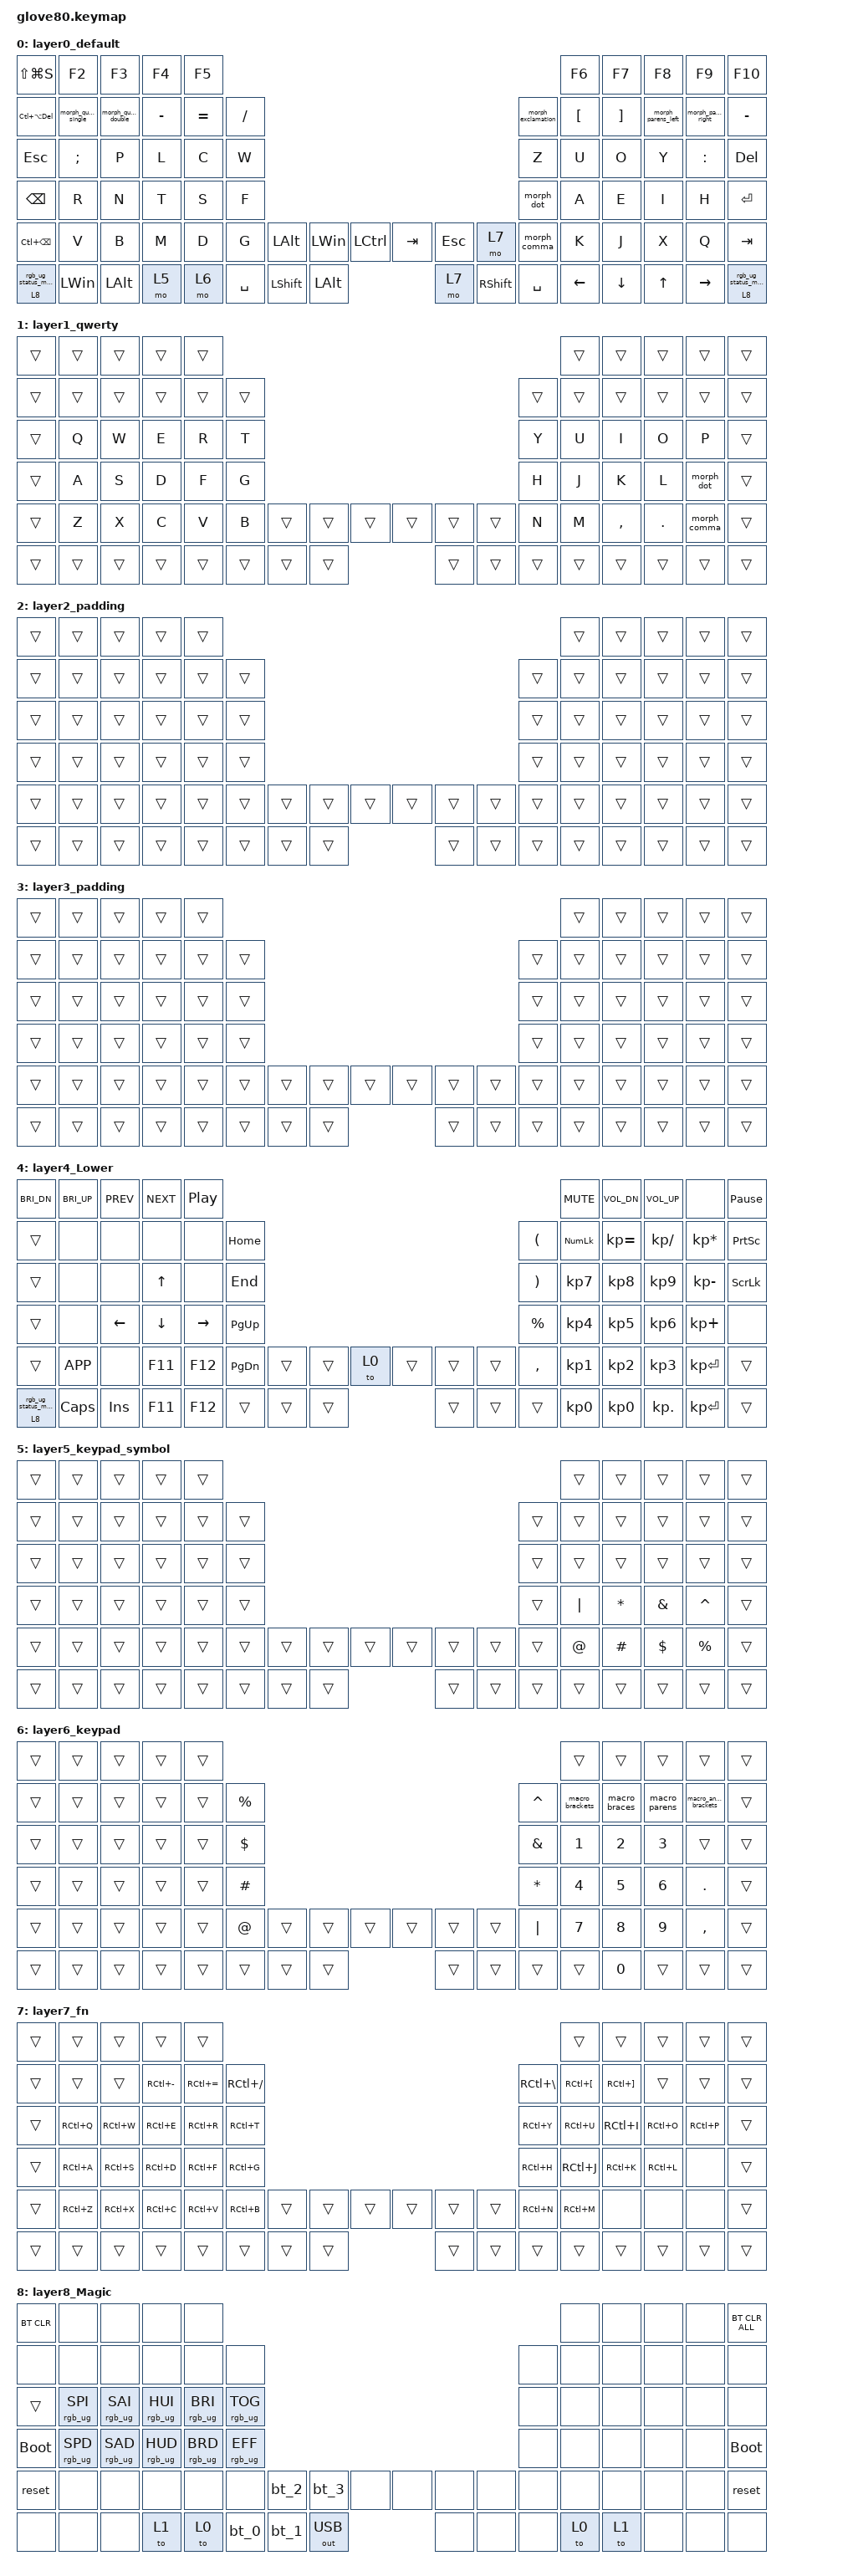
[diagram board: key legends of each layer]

/*
 * Copyright (c) 2020 The ZMK Contributors
 * Copyright (c) 2022 Innaworks Development Limited, trading as MoErgo
 *
 * SPDX-License-Identifier: MIT
 */


/* THIS FILE WAS GENERATED BY GLOVE80 LAYOUT EDITOR
 *
 * This file was generated automatically. You may or may not want to
 * edit it directly.
 */

#include <behaviors.dtsi>
/* Include all behaviour includes needed by system behaviors/macros */
#include <dt-bindings/zmk/outputs.h>

/* Include behaviour includes needed by key binds - automatically generated */
#include <dt-bindings/zmk/keys.h>
#include <dt-bindings/zmk/bt.h>
#include <dt-bindings/zmk/rgb.h>
#include <dt-bindings/zmk/outputs.h>


/ {
    /* Glove80 system behavior & macros */
    behaviors {
        // For the "layer" key, it'd nice to be able to use it as either a shift or a toggle.
        // Configure it as a tap dance, so the first tap (or hold) is a &mo and the second tap is a &to
        lower: tap_dance_0 {
            compatible = "zmk,behavior-tap-dance";
            label = "LAYER_TAP_DANCE";
            #binding-cells = <0>;
            tapping-term-ms = <200>;
            bindings = <&mo 1>, <&to 1>;
        };
    };

    combos {
        compatible = "zmk,combos";
        combo_esc {
            timeout-ms = <50>;
            key-positions = <52 57>; // This needs to change for each board
            bindings = <&kp BSPC>;
        };
    };

    macros {
        rgb_ug_status_macro: rgb_ug_status_macro_0 {
            label = "RGB_UG_STATUS";
            compatible = "zmk,behavior-macro";
            #binding-cells = <0>;
            bindings
                = <&rgb_ug RGB_STATUS>;
        };
    };

    macros {
        bt_0: bt_profile_macro_0 {
            label = "BT_0";
            compatible = "zmk,behavior-macro";
            #binding-cells = <0>;
            bindings
                = <&out OUT_BLE>,
                  <&bt BT_SEL 0>;
        };
    };

    macros {
        bt_1: bt_profile_macro_1 {
            label = "BT_1";
            compatible = "zmk,behavior-macro";
            #binding-cells = <0>;
            bindings
                = <&out OUT_BLE>,
                  <&bt BT_SEL 1>;
        };
    };

    macros {
        bt_2: bt_profile_macro_2 {
            label = "BT_2";
            compatible = "zmk,behavior-macro";
            #binding-cells = <0>;
            bindings
                = <&out OUT_BLE>,
                  <&bt BT_SEL 2>;
        };
    };

    macros {
        bt_3: bt_profile_macro_3 {
            label = "BT_3";
            compatible = "zmk,behavior-macro";
            #binding-cells = <0>;
            bindings
                = <&out OUT_BLE>,
                  <&bt BT_SEL 3>;
        };
    };

    magic: magic_hold_tap {
        compatible = "zmk,behavior-hold-tap";
        label = "MAGIC_HOLD_TAP";
        #binding-cells = <2>;
        flavor = "tap-preferred";
        tapping-term-ms = <200>;
        bindings = <&mo>, <&rgb_ug_status_macro>;
    };

    /* Custom Defined Behaviors */

   mo_key: behavior_mo_key {
        compatible = "zmk,behavior-hold-tap";
        label = "mo_key";
        #binding-cells = <2>;
        tapping-term-ms = <200>;
        quick_tap_ms = <175>;
        flavor = "tap-preferred";
        bindings = <&mo>, <&kp>;
    };

    hr_mod: homerow_mods {
        compatible = "zmk,behavior-hold-tap";
        label = "HOMEROW_MODS";
        #binding-cells = <2>;
        tapping-term-ms = <130>;
        quick-tap-ms = <0>;
        flavor = "tap-preferred";
        bindings = <&kp>, <&kp>;
    };

    shift_mod: shift_hold_tap {
        compatible = "zmk,behavior-hold-tap";
        label = "shift_mod_HOLD_TAP";
        #binding-cells = <2>;
        flavor = "tap-unless-interrupted";
        tapping-term-ms = <130>;                        // <---[[produces tap if held longer than tapping-term-ms]]
        quick-tap-ms = <200>;
        bindings = <&kp>, <&kp>;
    };


    // &dot_override,
    morph_dot: morph_dot {
        compatible = "zmk,behavior-mod-morph";
        label = "MORPH_DOT";
        #binding-cells = <0>;
        bindings = <&kp PERIOD>, <&kp COLON>;
        mods = <(MOD_LSFT|MOD_RSFT)>;
    };
    // &comma_override,
    morph_comma: morph_comma {
        compatible = "zmk,behavior-mod-morph";
        label = "MORPH_COMMA";
        #binding-cells = <0>;
        bindings = <&kp COMMA>, <&kp SEMICOLON>;
        mods = <(MOD_LSFT|MOD_RSFT)>;
    };
    // &parens_left_override,
    morph_parens_left: morph_parens_left {
        compatible = "zmk,behavior-mod-morph";
        label = "MORPH_PARENS_LEFT";
        #binding-cells = <0>;
        bindings = <&kp LEFT_PARENTHESIS>, <&kp LESS_THAN>;
        mods = <(MOD_LSFT|MOD_RSFT)>;
    };
    // &parens_right_override,
    morph_parens_right: morph_parens_right {
        compatible = "zmk,behavior-mod-morph";
        label = "MORPH_PARENS_RIGHT";
        #binding-cells = <0>;
        bindings = <&kp RIGHT_PARENTHESIS>, <&kp GREATER_THAN>;
        mods = <(MOD_LSFT|MOD_RSFT)>;
    };
    // &exclamation_override,
    morph_exclamation: morph_exclamation {
        compatible = "zmk,behavior-mod-morph";
        label = "MORPH_EXCLAMATION";
        #binding-cells = <0>;
        bindings = <&kp BACKSLASH>, <&kp EXCLAMATION>;
        mods = <(MOD_LSFT|MOD_RSFT)>;
    };
    // &quote_single_override,
    morph_quote_single: morph_quote_single {
        compatible = "zmk,behavior-mod-morph";
        label = "MORPH_QUOTE_SINGLE";
        #binding-cells = <0>;
        bindings = <&kp SINGLE_QUOTE>, <&kp GRAVE>;
        mods = <(MOD_LSFT|MOD_RSFT)>;
    };
    // &quote_double_override,
    morph_quote_double: morph_quote_double {
        compatible = "zmk,behavior-mod-morph";
        label = "MORPH_QUOTE_DOUBLE";
        #binding-cells = <0>;
        bindings = <&kp DOUBLE_QUOTES>, <&kp TILDE>;
        mods = <(MOD_LSFT|MOD_RSFT)>;
    };

macro_quotes: macro_quotes{
compatible = "zmk,behavior-macro";
label = "macro_quotes";
#binding-cells = <0>;
bindings = <&kp SQT>, <&kp SQT>, <&kp LEFT>;
};
macro_dquotes: macro_dquotes{
compatible = "zmk,behavior-macro";
label = "macro_dquotes";
#binding-cells = <0>;
bindings = <&kp DQT>, <&kp DQT>, <&kp LEFT>;
};
macro_braces: macro_braces{
compatible = "zmk,behavior-macro";
label = "macro_braces";
#binding-cells = <0>;
bindings = <&kp LBRC>, <&kp RBRC>, <&kp LEFT>;
};
macro_parens: macro_parens{
compatible = "zmk,behavior-macro";
label = "macro_parens";
#binding-cells = <0>;
bindings = <&kp LPAR>, <&kp RPAR>, <&kp LEFT>;
};
macro_brackets: macro_brackets{
compatible = "zmk,behavior-macro";
label = "macro_brackets";
#binding-cells = <0>;
bindings = <&kp LBKT>, <&kp RBKT>, <&kp LEFT>;
};
macro_angle_brackets: macro_angle_brackets{
compatible = "zmk,behavior-macro";
label = "macro_angle_brackets";
#binding-cells = <0>;
bindings = <&kp LT>, <&kp GT>, <&kp LEFT>;
};

    /* Automatically generated keymap */
    keymap {
        compatible = "zmk,keymap";

layer0_default {
bindings = <
&kp LS(LG(S))       &kp F2                  &kp F3                  &kp F4          &kp F5                                                                                                                                                                &kp F6     &kp F7    &kp F8                 &kp F9                  &kp F10
&kp LC(LA(DEL))     &morph_quote_single     &morph_quote_double     &kp MINUS       &kp EQUAL   &kp SLASH                                                                                                                      &morph_exclamation         &kp LBKT   &kp RBKT  &morph_parens_left     &morph_parens_right     &kp MINUS
&kp ESC             &kp SEMICOLON           &kp P                   &kp L           &kp C       &kp W                                                                                                                          &kp Z                      &kp U      &kp O     &kp Y                  &kp COLON               &kp DEL
&kp BSPC            &kp R                   &kp N                   &kp T           &kp S       &kp F                                                                                                                          &morph_dot                 &kp A      &kp E     &kp I                  &kp H                   &kp ENTER
&kp LC(BSPC)        &kp V                   &kp B                   &kp M           &kp D       &kp G                &kp LEFT_ALT   &kp LEFT_WIN    &kp LEFT_CONTROL    &kp TAB    &kp ESCAPE    &mo 7                         &morph_comma               &kp K      &kp J     &kp X                  &kp Q                   &kp TAB
&magic 8 0          &kp LEFT_WIN            &kp LEFT_ALT            &mo 5           &mo 6                            &kp SPACE   &kp LEFT_SHIFT  &kp LEFT_ALT      &mo 7  &kp RIGHT_SHIFT   &kp SPACE                                                     &kp LEFT   &kp DOWN  &kp UP                 &kp RIGHT               &magic 8 0
>;
};
layer1_qwerty {
bindings = <
&trans  &trans  &trans  &trans  &trans                                                              &trans  &trans      &trans      &trans          &trans
&trans  &trans  &trans  &trans  &trans  &trans                                              &trans  &trans  &trans      &trans      &trans          &trans
&trans  &kp Q   &kp W   &kp E   &kp R   &kp T                                               &kp Y   &kp U   &kp I       &kp O       &kp P           &trans
&trans  &kp A   &kp S   &kp D   &kp F   &kp G                                               &kp H   &kp J   &kp K       &kp L       &morph_dot      &trans
&trans  &kp Z   &kp X   &kp C   &kp V   &kp B   &trans &trans &trans &trans &trans &trans   &kp N   &kp M   &kp COMMA   &kp DOT     &morph_comma    &trans
&trans  &trans  &trans  &trans  &trans          &trans &trans &trans &trans &trans &trans           &trans  &trans      &trans      &trans          &trans
>;
};

layer2_padding {
bindings = <
&trans  &trans  &trans  &trans  &trans                                                             &trans  &trans  &trans  &trans  &trans
&trans  &trans  &trans  &trans  &trans  &trans                                             &trans  &trans  &trans  &trans  &trans  &trans
&trans  &trans  &trans  &trans  &trans  &trans                                             &trans  &trans  &trans  &trans  &trans  &trans
&trans  &trans  &trans  &trans  &trans  &trans                                             &trans  &trans  &trans  &trans  &trans  &trans
&trans  &trans  &trans  &trans  &trans  &trans  &trans &trans &trans &trans &trans &trans  &trans  &trans  &trans  &trans  &trans  &trans
&trans  &trans  &trans  &trans  &trans          &trans &trans &trans &trans &trans &trans          &trans  &trans  &trans  &trans  &trans
>;
};

layer3_padding {
bindings = <
&trans  &trans  &trans  &trans  &trans                                                             &trans  &trans  &trans  &trans  &trans
&trans  &trans  &trans  &trans  &trans  &trans                                             &trans  &trans  &trans  &trans  &trans  &trans
&trans  &trans  &trans  &trans  &trans  &trans                                             &trans  &trans  &trans  &trans  &trans  &trans
&trans  &trans  &trans  &trans  &trans  &trans                                             &trans  &trans  &trans  &trans  &trans  &trans
&trans  &trans  &trans  &trans  &trans  &trans  &trans &trans &trans &trans &trans &trans  &trans  &trans  &trans  &trans  &trans  &trans
&trans  &trans  &trans  &trans  &trans          &trans &trans &trans &trans &trans &trans          &trans  &trans  &trans  &trans  &trans
>;
};

layer4_Lower {
            bindings = <
 &kp C_BRI_DN  &kp C_BRI_UP      &kp C_PREV      &kp C_NEXT         &kp C_PP                                                                                    &kp C_MUTE  &kp C_VOL_DN  &kp C_VOL_UP            &none  &kp PAUSE_BREAK
       &trans         &none           &none           &none            &none   &kp HOME                                                   &kp LEFT_PARENTHESIS  &kp KP_NUM  &kp KP_EQUAL  &kp KP_SLASH  &kp KP_MULTIPLY  &kp PRINTSCREEN
       &trans         &none           &none    &kp UP_ARROW            &none    &kp END                                                  &kp RIGHT_PARENTHESIS   &kp KP_N7     &kp KP_N8     &kp KP_N9     &kp KP_MINUS   &kp SCROLLLOCK
       &trans         &none  &kp LEFT_ARROW  &kp DOWN_ARROW  &kp RIGHT_ARROW  &kp PG_UP                                                            &kp PERCENT   &kp KP_N4     &kp KP_N5     &kp KP_N6      &kp KP_PLUS            &none
       &trans     &kp K_APP           &none         &kp F11          &kp F12  &kp PG_DN  &trans  &trans   &to 0  &trans  &trans  &trans              &kp COMMA   &kp KP_N1     &kp KP_N2     &kp KP_N3     &kp KP_ENTER           &trans
   &magic 8 0      &kp CAPS         &kp INS         &kp F11          &kp F12             &trans  &trans  &trans  &trans  &trans  &trans                          &kp KP_N0     &kp KP_N0    &kp KP_DOT     &kp KP_ENTER           &trans
            >;
        };

layer5_keypad_symbol {
bindings = <
&trans  &trans  &trans  &trans  &trans                                                             &trans  &trans  &trans  &trans  &trans
&trans  &trans  &trans  &trans  &trans  &trans                                             &trans  &trans  &trans  &trans  &trans  &trans
&trans  &trans  &trans  &trans  &trans  &trans                                             &trans  &trans  &trans  &trans  &trans  &trans
&trans  &trans  &trans  &trans  &trans  &trans                                             &trans  &kp PIPE     &kp STAR      &kp AMPERSAND &kp CARET  &trans
&trans  &trans  &trans  &trans  &trans  &trans  &trans &trans &trans &trans &trans &trans  &trans  &kp AT_SIGN  &kp POUND     &kp DOLLAR    &kp PERCENT  &trans
&trans  &trans  &trans  &trans  &trans          &trans &trans &trans &trans &trans &trans          &trans  &trans  &trans  &trans  &trans
>;
};


layer6_keypad {
bindings = <
&trans          &trans          &trans          &trans          &trans                                                                                         &trans              &trans          &trans          &trans                  &trans
&trans          &trans          &trans          &trans          &trans          &kp PERCENT                                                    &kp CARET       &macro_brackets     &macro_braces   &macro_parens   &macro_angle_brackets   &trans
&trans          &trans          &trans          &trans          &trans          &kp DOLLAR                                                     &kp AMPERSAND   &kp N1              &kp N2          &kp N3          &trans                  &trans
&trans          &trans          &trans          &trans          &trans          &kp POUND                                                      &kp STAR        &kp N4              &kp N5          &kp N6          &kp DOT                 &trans
&trans          &trans          &trans          &trans          &trans          &kp AT_SIGN         &trans &trans &trans &trans &trans &trans  &kp PIPE        &kp N7              &kp N8          &kp N9          &kp COMMA               &trans
&trans          &trans          &trans          &trans          &trans                              &trans &trans &trans &trans &trans &trans                  &trans              &kp N0          &trans          &trans                  &trans
>;
};

layer7_fn {
bindings = <
&trans  &trans      &trans      &trans          &trans                                                                                              &trans               &trans                 &trans    &trans    &trans
&trans  &trans      &trans      &kp RC(MINUS)   &kp RC(EQUAL)   &kp RC(SLASH)                                                   &kp RC(BACKSLASH)   &kp RC(LEFT_BRACKET) &kp RC(RIGHT_BRACKET)  &trans    &trans    &trans
&trans  &kp RC(Q)   &kp RC(W)   &kp RC(E)       &kp RC(R)       &kp RC(T)                                                       &kp RC(Y)           &kp RC(U)            &kp RC(I)              &kp RC(O) &kp RC(P) &trans
&trans  &kp RC(A)   &kp RC(S)   &kp RC(D)       &kp RC(F)       &kp RC(G)                                                       &kp RC(H)           &kp RC(J)            &kp RC(K)              &kp RC(L) &none     &trans
&trans  &kp RC(Z)   &kp RC(X)   &kp RC(C)       &kp RC(V)       &kp RC(B)       &trans &trans &trans &trans &trans &trans       &kp RC(N)           &kp RC(M)            &none                  &none     &none     &trans
&trans  &trans      &trans      &trans          &trans                          &trans &trans &trans &trans &trans &trans                           &trans               &trans                 &trans    &trans    &trans
>;
};




        layer8_Magic {
            bindings = <
  &bt BT_CLR            &none            &none            &none            &none                                                                                  &none   &none   &none   &none  &bt BT_CLR_ALL
       &none            &none            &none            &none            &none            &none                                                         &none   &none   &none   &none   &none           &none
      &trans  &rgb_ug RGB_SPI  &rgb_ug RGB_SAI  &rgb_ug RGB_HUI  &rgb_ug RGB_BRI  &rgb_ug RGB_TOG                                                         &none   &none   &none   &none   &none           &none
 &bootloader  &rgb_ug RGB_SPD  &rgb_ug RGB_SAD  &rgb_ug RGB_HUD  &rgb_ug RGB_BRD  &rgb_ug RGB_EFF                                                         &none   &none   &none   &none   &none     &bootloader
      &reset            &none            &none            &none            &none            &none   &bt_2   &bt_3         &none   &none   &none   &none   &none   &none   &none   &none   &none          &reset
       &none            &none            &none            &to 1            &to 0                    &bt_0   &bt_1  &out OUT_USB   &none   &none   &none           &to 0   &to 1   &none   &none           &none
            >;
        };

    };
};
